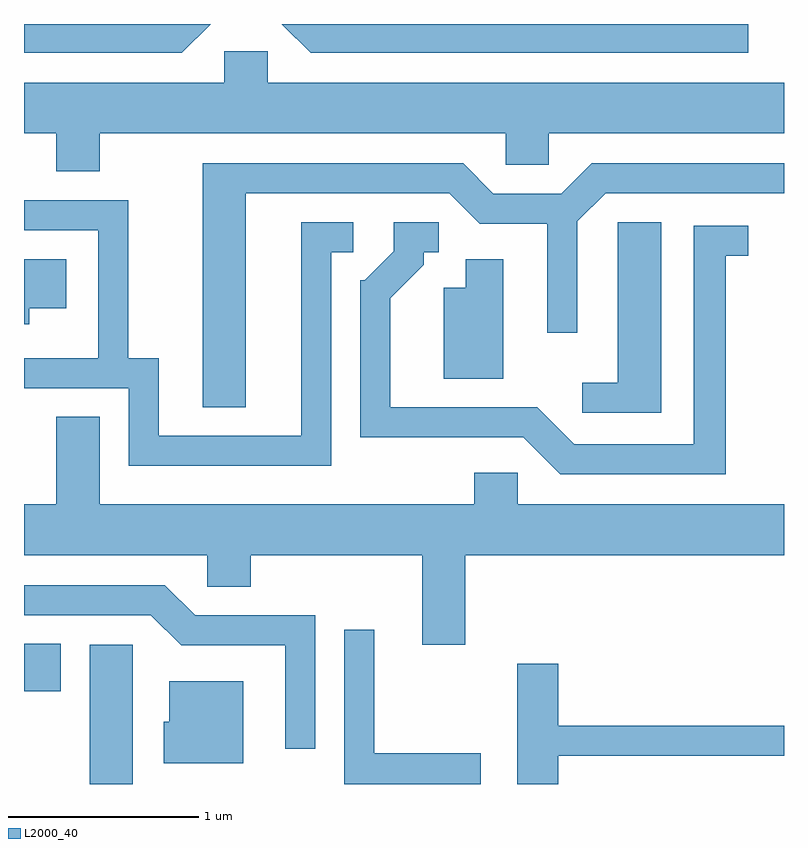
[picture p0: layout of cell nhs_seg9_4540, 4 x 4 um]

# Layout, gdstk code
import gdstk
lib = gdstk.Library(unit=1e-6, precision=1e-09)
def R(c, l, rs):  # rectangles x0, y0, x1, y1
    for r in rs: c.add(gdstk.rectangle(r[:2], r[2:], *l))
def P(c, l, *ps):  # polygons
    for p in ps: c.add(gdstk.Polygon(p, *l))
L2000_40 = (2000, 40)

nhs_seg9_4540 = lib.new_cell('nhs_seg9_4540')
R(nhs_seg9_4540, L2000_40, [(319.956,1948.432,320.184,1949.164), (319.611,1948.921,319.804,1949.169)])
P(nhs_seg9_4540, L2000_40, [(323.424,1952.432),(320.968,1952.432),(321.119,1952.281),(323.424,1952.281)],
  [(320.593,1952.432),(319.611,1952.432),(319.611,1952.281),(320.442,1952.281)],
  [(320.009,1951.856),(322.146,1951.856),(322.146,1951.691),(322.374,1951.691),(322.374,1951.856),(323.611,1951.856),(323.611,1952.124),(320.894,1952.124),(320.894,1952.289),(320.666,1952.289),(320.666,1952.124),(319.611,1952.124),(319.611,1951.856),(319.781,1951.856),(319.781,1951.656),(320.009,1951.656)],
  [(320.779,1951.541),(321.849,1951.541),(322.009,1951.381),(322.366,1951.381),(322.366,1950.808),(322.524,1950.808),(322.524,1951.394),(322.672,1951.541),(323.611,1951.541),(323.611,1951.699),(322.599,1951.699),(322.439,1951.539),(322.082,1951.539),(321.922,1951.699),(320.551,1951.699),(320.551,1950.416),(320.779,1950.416)],
  [(321.229,1951.231),(321.343,1951.231),(321.343,1951.389),(321.071,1951.389),(321.071,1950.264),(320.319,1950.264),(320.319,1950.674),(320.159,1950.674),(320.159,1951.504),(319.611,1951.504),(319.611,1951.346),(320.001,1951.346),(320.001,1950.674),(319.611,1950.674),(319.611,1950.516),(320.161,1950.516),(320.161,1950.106),(321.229,1950.106)],
  [(323.304,1951.211),(323.423,1951.211),(323.423,1951.369),(323.136,1951.369),(323.136,1950.219),(322.507,1950.219),(322.312,1950.414),(321.539,1950.414),(321.539,1950.989),(321.714,1951.164),(321.714,1951.231),(321.793,1951.231),(321.793,1951.389),(321.556,1951.389),(321.556,1951.237),(321.404,1951.084),(321.381,1951.084),(321.381,1950.256),(322.239,1950.256),(322.434,1950.061),(323.304,1950.061)],
  [(322.964,1951.389),(322.736,1951.389),(322.736,1950.544),(322.548,1950.544),(322.548,1950.386),(322.964,1950.386)],
  [(319.639,1950.936),(319.834,1950.936),(319.834,1951.194),(319.611,1951.194),(319.611,1950.851),(319.639,1950.851)],
  [(322.134,1951.194),(321.936,1951.194),(321.936,1951.044),(321.821,1951.044),(321.821,1950.566),(322.134,1950.566)],
  [(321.934,1949.636),(323.611,1949.636),(323.611,1949.904),(322.209,1949.904),(322.209,1950.069),(321.981,1950.069),(321.981,1949.904),(320.009,1949.904),(320.009,1950.364),(319.781,1950.364),(319.781,1949.904),(319.611,1949.904),(319.611,1949.636),(320.576,1949.636),(320.576,1949.471),(320.804,1949.471),(320.804,1949.636),(321.706,1949.636),(321.706,1949.166),(321.934,1949.166)],
  [(321.144,1949.319),(320.512,1949.319),(320.352,1949.479),(319.611,1949.479),(319.611,1949.321),(320.279,1949.321),(320.439,1949.161),(320.986,1949.161),(320.986,1948.618),(321.144,1948.618)],
  [(322.014,1948.594),(321.454,1948.594),(321.454,1949.243),(321.296,1949.243),(321.296,1948.432),(322.014,1948.432)],
  [(322.424,1948.581),(323.611,1948.581),(323.611,1948.739),(322.424,1948.739),(322.424,1949.064),(322.206,1949.064),(322.206,1948.432),(322.424,1948.432)],
  [(320.764,1948.974),(320.376,1948.974),(320.376,1948.759),(320.346,1948.759),(320.346,1948.541),(320.764,1948.541)])

lib.write_gds('nhs_seg9_4540.gds')
